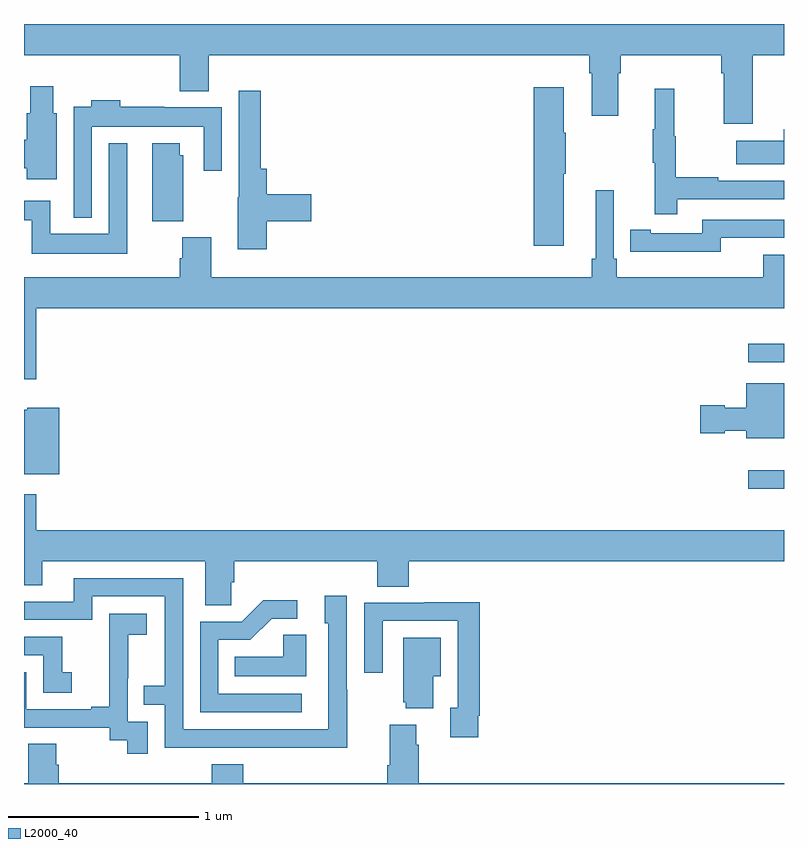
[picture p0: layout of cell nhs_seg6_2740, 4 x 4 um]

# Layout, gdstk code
import gdstk
lib = gdstk.Library(unit=1e-6, precision=1e-09)
def R(c, l, rs):  # rectangles x0, y0, x1, y1
    for r in rs: c.add(gdstk.rectangle(r[:2], r[2:], *l))
def P(c, l, *ps):  # polygons
    for p in ps: c.add(gdstk.Polygon(p, *l))
L2000_40 = (2000, 40)

nhs_seg6_2740 = lib.new_cell('nhs_seg6_2740')
R(nhs_seg6_2740, L2000_40, [(276.813,945.054,277,945.151), (276.813,945.72,277,945.818)])
P(nhs_seg6_2740, L2000_40, [(276.836,947.336),(277,947.336),(277,947.5),(273,947.5),(273,947.336),(273.821,947.336),(273.821,947.147),(273.973,947.147),(273.973,947.336),(275.975,947.336),(275.975,947.24),(275.987,947.24),(275.987,947.016),(276.127,947.016),(276.127,947.24),(276.14,947.24),(276.14,947.336),(276.671,947.336),(276.671,947.24),(276.683,947.24),(276.683,946.974),(276.836,946.974)],
  [(273.172,947.031),(273.154,947.031),(273.154,947.173),(273.032,947.173),(273.032,947.031),(273.014,947.031),(273.014,946.89),(273,946.89),(273,946.742),(273.014,946.742),(273.014,946.683),(273.172,946.683)],
  [(275.842,946.711),(275.85,946.711),(275.85,946.928),(275.842,946.928),(275.842,947.167),(275.684,947.167),(275.684,946.332),(275.842,946.332)],
  [(276.437,946.578),(277,946.578),(277,946.674),(276.653,946.674),(276.653,946.694),(276.43,946.694),(276.43,946.908),(276.422,946.908),(276.422,947.158),(276.32,947.158),(276.32,946.945),(276.309,946.945),(276.309,946.771),(276.32,946.771),(276.32,946.5),(276.437,946.5)],
  [(274.277,946.462),(274.513,946.462),(274.513,946.604),(274.277,946.604),(274.277,946.738),(274.247,946.738),(274.247,947.149),(274.131,947.149),(274.131,946.587),(274.124,946.587),(274.124,946.314),(274.277,946.314)],
  [(273.357,946.958),(273.945,946.958),(273.945,946.728),(274.041,946.728),(274.041,947.062),(273.737,947.062),(273.737,947.065),(273.506,947.065),(273.506,947.098),(273.353,947.098),(273.353,947.065),(273.261,947.065),(273.261,946.481),(273.357,946.481)],
  [(277,946.945),(276.998,946.945),(276.998,946.885),(276.749,946.885),(276.749,946.763),(277,946.763)],
  [(273.838,946.809),(273.82,946.809),(273.82,946.873),(273.674,946.873),(273.674,946.462),(273.838,946.462)],
  [(273.544,946.873),(273.447,946.873),(273.447,946.396),(273.138,946.396),(273.138,946.57),(273,946.57),(273,946.466),(273.041,946.466),(273.041,946.292),(273.544,946.292)],
  [(273.064,946.004),(277,946.004),(277,946.285),(276.89,946.285),(276.89,946.168),(276.119,946.168),(276.119,946.264),(276.105,946.264),(276.105,946.624),(276.008,946.624),(276.008,946.264),(275.989,946.264),(275.989,946.168),(273.986,946.168),(273.986,946.377),(273.833,946.377),(273.833,946.268),(273.821,946.268),(273.821,946.168),(273,946.168),(273,945.63),(273.064,945.63)],
  [(276.666,946.374),(277,946.374),(277,946.47),(276.57,946.47),(276.57,946.398),(276.298,946.398),(276.298,946.418),(276.19,946.418),(276.19,946.302),(276.298,946.302),(276.298,946.301),(276.666,946.301)],
  [(277,945.61),(276.8,945.61),(276.8,945.481),(276.687,945.481),(276.687,945.494),(276.558,945.494),(276.558,945.347),(276.687,945.347),(276.687,945.359),(276.8,945.359),(276.8,945.32),(277,945.32)],
  [(273.185,945.481),(273.018,945.481),(273.018,945.469),(273,945.469),(273,945.36),(273.002,945.36),(273.002,945.129),(273.185,945.129)],
  [(274.092,944.563),(274.106,944.563),(274.106,944.672),(274.859,944.672),(274.859,944.539),(275.024,944.539),(275.024,944.672),(277,944.672),(277,944.836),(273.064,944.836),(273.064,945.025),(273,945.025),(273,944.545),(273.097,944.545),(273.097,944.672),(273.953,944.672),(273.953,944.44),(274.092,944.44)],
  [(274.701,943.997),(274.698,943.997),(274.698,944.491),(274.583,944.491),(274.583,944.346),(274.602,944.346),(274.602,943.788),(273.837,943.788),(273.837,944.583),(273.263,944.583),(273.263,944.46),(273,944.46),(273,944.364),(273.36,944.364),(273.36,944.487),(273.741,944.487),(273.741,944.018),(273.631,944.018),(273.631,943.917),(273.741,943.917),(273.741,943.692),(274.237,943.692),(274.237,943.691),(274.701,943.691)],
  [(274.462,943.974),(274.023,943.974),(274.023,944.259),(274.192,944.259),(274.303,944.37),(274.438,944.37),(274.438,944.468),(274.259,944.468),(274.146,944.355),(273.927,944.355),(273.927,943.878),(274.462,943.878)],
  [(275.392,943.858),(275.399,943.858),(275.399,944.456),(275.107,944.456),(275.107,944.454),(274.791,944.454),(274.791,944.085),(274.887,944.085),(274.887,944.358),(275.283,944.358),(275.283,943.902),(275.243,943.902),(275.243,943.746),(275.392,943.746)],
  [(273.651,943.827),(273.546,943.827),(273.546,944.057),(273.548,944.057),(273.548,944.285),(273.646,944.285),(273.646,944.395),(273.448,944.395),(273.448,944.189),(273.449,944.189),(273.449,943.906),(273.353,943.906),(273.353,943.893),(273.012,943.893),(273.012,944.088),(273,944.088),(273,943.797),(273.45,943.797),(273.45,943.729),(273.543,943.729),(273.543,943.659),(273.651,943.659)],
  [(274.486,944.285),(274.365,944.285),(274.365,944.17),(274.108,944.17),(274.108,944.066),(274.486,944.066)],
  [(273.25,944.089),(273.201,944.089),(273.201,944.274),(273,944.274),(273,944.178),(273.102,944.178),(273.102,943.98),(273.25,943.98)],
  [(275.155,944.066),(275.194,944.066),(275.194,944.269),(274.997,944.269),(274.997,943.929),(275.009,943.929),(275.009,943.898),(275.155,943.898)],
  [(277,943.504),(275.078,943.504),(275.078,943.706),(275.065,943.706),(275.065,943.813),(274.925,943.813),(274.925,943.6),(274.913,943.6),(274.913,943.504),(274.154,943.504),(274.154,943.603),(273.989,943.603),(273.989,943.504),(273.182,943.504),(273.182,943.602),(273.169,943.602),(273.169,943.712),(273.022,943.712),(273.022,943.504),(273,943.504),(273,943.5),(277,943.5)])

lib.write_gds('nhs_seg6_2740.gds')
